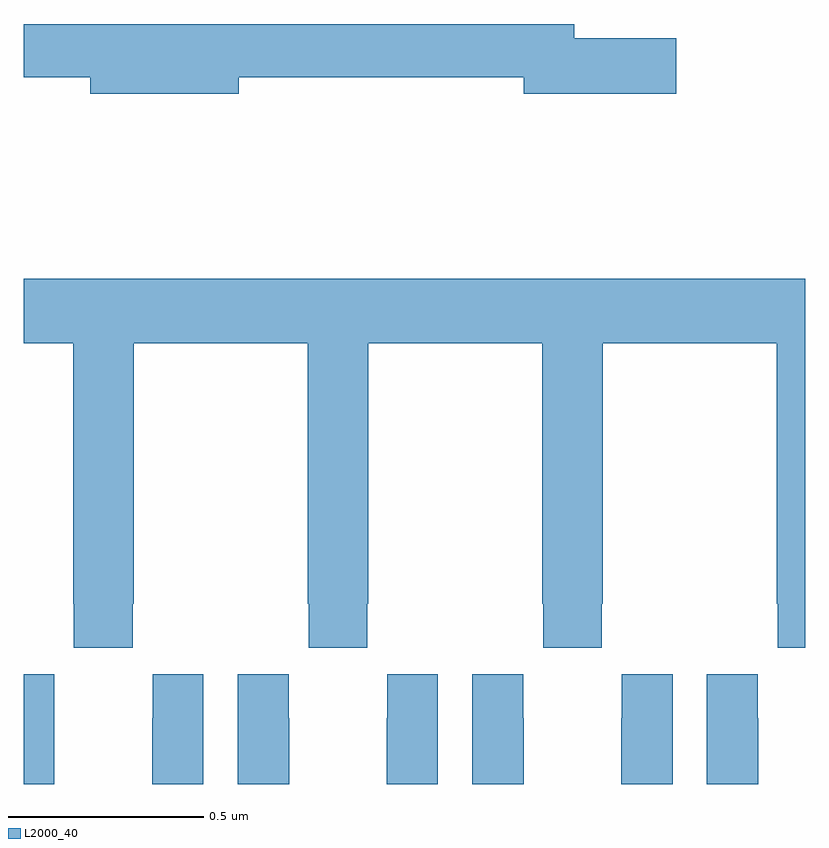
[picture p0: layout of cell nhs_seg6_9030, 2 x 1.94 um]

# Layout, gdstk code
import gdstk
lib = gdstk.Library(unit=1e-6, precision=1e-09)
def P(c, l, *ps):  # polygons
    for p in ps: c.add(gdstk.Polygon(p, *l))
L2000_40 = (2000, 40)

nhs_seg6_9030 = lib.new_cell('nhs_seg6_9030')
P(nhs_seg6_9030, L2000_40, [(228.55,989.308),(229.28,989.308),(229.28,989.266),(229.669,989.266),(229.669,989.408),(229.408,989.408),(229.408,989.444),(228,989.444),(228,989.308),(228.17,989.308),(228.17,989.266),(228.55,989.266)],
  [(228,988.628),(228.127,988.628),(228.127,987.961),(228.129,987.961),(228.129,987.849),(228.279,987.849),(228.279,987.961),(228.282,987.961),(228.282,988.628),(228.727,988.628),(228.727,987.961),(228.729,987.961),(228.729,987.849),(228.879,987.849),(228.879,987.961),(228.882,987.961),(228.882,988.628),(229.327,988.628),(229.327,987.961),(229.329,987.961),(229.329,987.849),(229.479,987.849),(229.479,987.961),(229.482,987.961),(229.482,988.628),(229.927,988.628),(229.927,987.961),(229.929,987.961),(229.929,987.849),(230,987.849),(230,988.792),(228,988.792)],
  [(229.879,987.668),(229.878,987.668),(229.878,987.781),(229.748,987.781),(229.748,987.5),(229.879,987.5)],
  [(229.66,987.781),(229.53,987.781),(229.53,987.668),(229.529,987.668),(229.529,987.5),(229.66,987.5)],
  [(228.46,987.781),(228.33,987.781),(228.33,987.668),(228.329,987.668),(228.329,987.5),(228.46,987.5)],
  [(228.679,987.668),(228.678,987.668),(228.678,987.781),(228.548,987.781),(228.548,987.5),(228.679,987.5)],
  [(229.06,987.781),(228.93,987.781),(228.93,987.668),(228.929,987.668),(228.929,987.5),(229.06,987.5)],
  [(228.079,987.668),(228.078,987.668),(228.078,987.781),(228,987.781),(228,987.5),(228.079,987.5)],
  [(229.148,987.781),(229.148,987.5),(229.279,987.5),(229.279,987.668),(229.278,987.668),(229.278,987.781)])

lib.write_gds('nhs_seg6_9030.gds')
